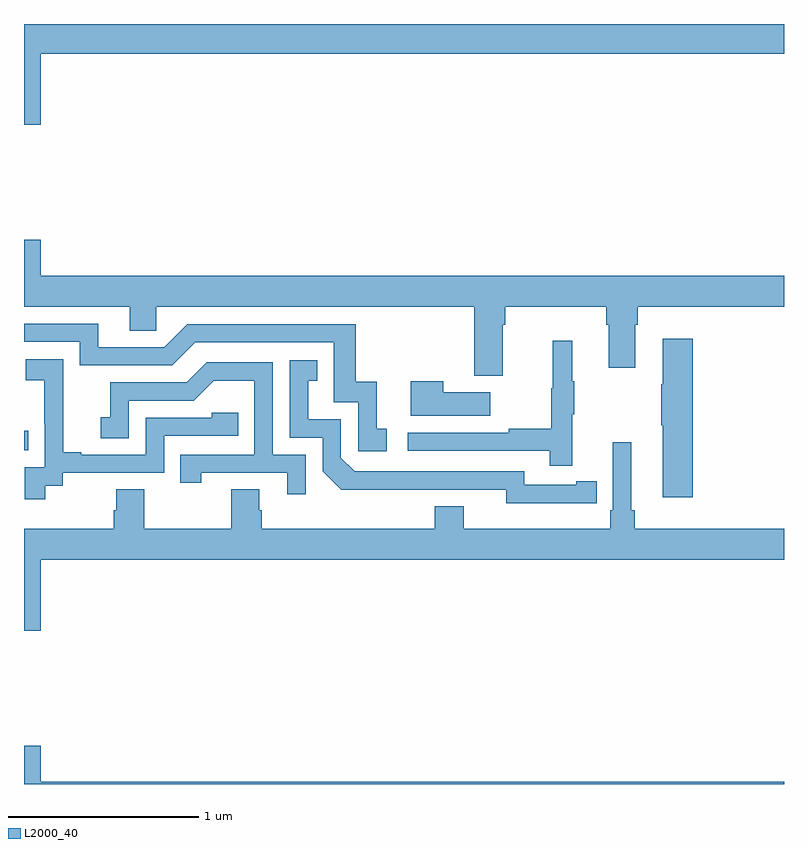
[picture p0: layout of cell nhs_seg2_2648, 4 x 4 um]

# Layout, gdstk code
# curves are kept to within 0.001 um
import gdstk
lib = gdstk.Library(unit=1e-6, precision=1e-09)
def R(c, l, rs):  # rectangles x0, y0, x1, y1
    for r in rs: c.add(gdstk.rectangle(r[:2], r[2:], *l))
def P(c, l, *ps):  # polygons
    for p in ps: c.add(gdstk.Polygon(p, *l))
L2000_40 = (2000, 40)

nhs_seg2_2648 = lib.new_cell('nhs_seg2_2648')
R(nhs_seg2_2648, L2000_40, [(249,637.557,249.023,637.658)])
P(nhs_seg2_2648, L2000_40, [(249.088,639.644),(253,639.644),(253,639.8),(249,639.8),(249,639.27),(249.088,639.27)],
  [(251.521,638.216),(251.534,638.216),(251.534,638.312),(252.065,638.312),(252.065,638.216),(252.077,638.216),(252.077,637.992),(252.217,637.992),(252.217,638.216),(252.23,638.216),(252.23,638.312),(253,638.312),(253,638.476),(249.088,638.476),(249.088,638.665),(249,638.665),(249,638.312),(249.557,638.312),(249.557,638.185),(249.696,638.185),(249.696,638.312),(251.369,638.312),(251.369,637.95),(251.521,637.95)],
  [(250.909,637.671),(250.856,637.671),(250.856,637.918),(250.745,637.918),(250.745,638.22),(249.858,638.22),(249.738,638.1),(249.391,638.1),(249.391,638.223),(249,638.223),(249,638.127),(249.294,638.127),(249.294,638.004),(249.78,638.004),(249.9,638.124),(250.629,638.124),(250.629,637.809),(250.758,637.809),(250.758,637.551),(250.909,637.551)],
  [(252.521,638.143),(252.362,638.143),(252.362,637.904),(252.355,637.904),(252.355,637.687),(252.362,637.687),(252.362,637.308),(252.521,637.308)],
  [(251.885,637.747),(251.896,637.747),(251.896,637.921),(251.885,637.921),(251.885,638.134),(251.782,638.134),(251.782,637.884),(251.775,637.884),(251.775,637.67),(251.551,637.67),(251.551,637.65),(251.019,637.65),(251.019,637.554),(251.767,637.554),(251.767,637.476),(251.885,637.476)],
  [(249.112,637.369),(249.204,637.369),(249.204,637.437),(249.738,637.437),(249.738,637.632),(250.127,637.632),(250.127,637.755),(249.987,637.755),(249.987,637.728),(249.642,637.728),(249.642,637.533),(249.301,637.533),(249.301,637.546),(249.206,637.546),(249.206,637.829),(249.207,637.829),(249.207,638.035),(249.009,638.035),(249.009,637.925),(249.107,637.925),(249.107,637.697),(249.108,637.697),(249.108,637.467),(249.003,637.467),(249.003,637.299),(249.112,637.299)],
  [(251.906,637.278),(252.014,637.278),(252.014,637.394),(251.906,637.394),(251.906,637.374),(251.634,637.374),(251.634,637.446),(250.74,637.446),(250.668,637.518),(250.668,637.719),(250.495,637.719),(250.495,637.923),(250.544,637.923),(250.544,638.029),(250.398,638.029),(250.398,637.623),(250.572,637.623),(250.572,637.446),(250.67,637.349),(251.538,637.35),(251.538,637.277)],
  [(250.482,637.533),(250.308,637.533),(250.308,638.019),(249.962,638.019),(249.857,637.914),(249.454,637.914),(249.454,637.729),(249.405,637.729),(249.405,637.62),(249.552,637.62),(249.552,637.818),(249.894,637.818),(249.998,637.922),(250.212,637.922),(250.212,637.533),(249.823,637.533),(249.823,637.386),(249.934,637.386),(249.934,637.437),(250.385,637.437),(250.385,637.326),(250.482,637.326)],
  [(251.455,637.861),(251.207,637.861),(251.207,637.921),(251.036,637.921),(251.036,637.739),(251.455,637.739)],
  [(249.088,636.98),(253,636.98),(253,637.144),(252.215,637.144),(252.215,637.24),(252.196,637.24),(252.196,637.6),(252.099,637.6),(252.099,637.24),(252.086,637.24),(252.086,637.144),(251.314,637.144),(251.314,637.261),(251.162,637.261),(251.162,637.144),(250.25,637.144),(250.25,637.242),(250.237,637.242),(250.237,637.352),(250.09,637.352),(250.09,637.144),(249.633,637.144),(249.633,637.352),(249.485,637.352),(249.485,637.242),(249.473,637.242),(249.473,637.144),(249,637.144),(249,636.606),(249.088,636.606)],
  [(253,635.812),(249.088,635.812),(249.088,636.001),(249,636.001),(249,635.8),(253,635.8)])

lib.write_gds('nhs_seg2_2648.gds')
